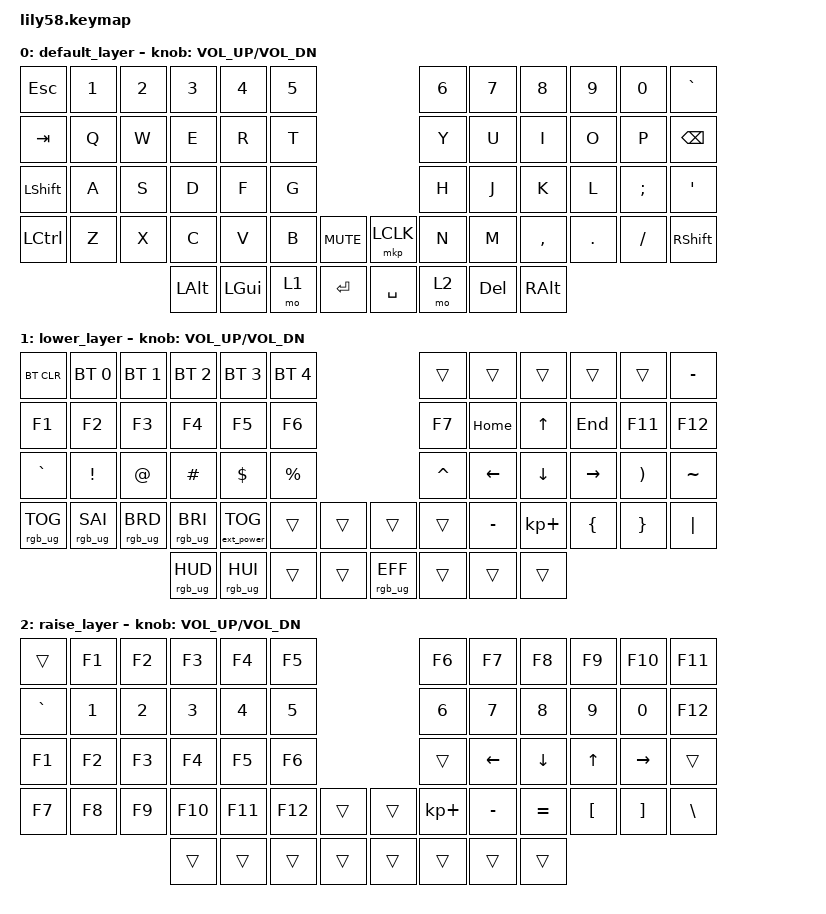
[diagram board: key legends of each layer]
/*
 * Copyright (c) 2020 The ZMK Contributors
 *
 * SPDX-License-Identifier: MIT
 */

#include <behaviors.dtsi>
#include <dt-bindings/led/led.h>
#include <dt-bindings/zmk/bt.h>
#include <dt-bindings/zmk/ext_power.h>
#include <dt-bindings/zmk/keys.h>
#include <dt-bindings/zmk/rgb.h>
#include <dt-bindings/zmk/mouse.h>

&led_strip {
    chain-length = <35>;
};

/ {
    chosen {
        zmk,underglow = &led_strip;
    };

    keymap {
        compatible = "zmk,keymap";

        default_layer {
            // ------------------------------------------------------------------------------------------------------------
            // |  ESC  |  1  |  2  |  3   |  4     |  5   |                   |  6   |  7     |  8    |  9   |   0   |   `   |
            // |  TAB  |  Q  |  W  |  E   |  R     |  T   |                   |  Y   |  U     |  I    |  O   |   P   |   -   |
            // |  CTRL |  A  |  S  |  D   |  F     |  G   |                   |  H   |  J     |  K    |  L   |   ;   |   '   |
            // | SHIFT |  Z  |  X  |  C   |  V     |  B   |   "["  |  |  "]"  |  N   |  M     |  ,    |  .   |   /   | SHIFT |
            //                     | ALT  |  GUI   | LOWER  | SPACE |  | ENTER | BSPC |  RAISE | GUI   |

            bindings = <
&kp ESC    &kp N1  &kp N2  &kp N3    &kp N4    &kp N5                           &kp N6  &kp N7      &kp N8         &kp N9   &kp N0    &kp GRAVE
&kp TAB    &kp Q   &kp W   &kp E     &kp R     &kp T                            &kp Y   &kp U       &kp I          &kp O    &kp P     &kp BACKSPACE
&kp LSHFT  &kp A   &kp S   &kp D     &kp F     &kp G                            &kp H   &kp J       &kp K          &kp L    &kp SEMI  &kp SQT
&kp LCTRL  &kp Z   &kp X   &kp C     &kp V     &kp B   &kp C_MUTE    &mkp LCLK  &kp N   &kp M       &kp COMMA      &kp DOT  &kp FSLH  &kp RSHFT
                           &kp LALT  &kp LGUI  &mo 1   &kp ENTER     &kp SPACE  &mo 2   &kp DELETE  &kp RIGHT_ALT
            >;

            sensor-bindings = <&inc_dec_kp C_VOL_UP C_VOL_DN>;
        };

        lower_layer {
            // ------------------------------------------------------------------------------------------------------------
            // | BTCLR | BT1 | BT2 |  BT3 |  BT4 |  BT5 |                   |      |       |       |      |       |       |
            // |  F1   |  F2 |  F3 |  F4  |  F5  |  F6  |                   |  F7  |  F8   |  F9   |  F10 |  F11  |  F12  |
            // |   `   |  !  |  @  |  #   |  $   |  %   |                   |  ^   |  &    |  *    |  (   |   )   |   ~   |
            // |       |     |     |      |      |      |        |  |       |      |  _    |  +    |  {   |   }   |  "|"  |
            //                     |      |      |      |        |  |       |      |       |       |

            bindings = <
&bt BT_CLR       &bt BT_SEL 0     &bt BT_SEL 1     &bt BT_SEL 2     &bt BT_SEL 3       &bt BT_SEL 4                             &trans     &trans          &trans          &trans           &trans    &kp MINUS
&kp F1           &kp F2           &kp F3           &kp F4           &kp F5             &kp F6                                   &kp F7     &kp HOME        &kp UP_ARROW    &kp END          &kp F11   &kp F12
&kp GRAVE        &kp EXCL         &kp AT           &kp HASH         &kp DOLLAR         &kp PRCNT                                &kp CARET  &kp LEFT_ARROW  &kp DOWN_ARROW  &kp RIGHT_ARROW  &kp RPAR  &kp TILDE
&rgb_ug RGB_TOG  &rgb_ug RGB_SAI  &rgb_ug RGB_BRD  &rgb_ug RGB_BRI  &ext_power EP_TOG  &trans        &trans    &trans           &trans     &kp MINUS       &kp KP_PLUS     &kp LBRC         &kp RBRC  &kp PIPE
                                                   &rgb_ug RGB_HUD  &rgb_ug RGB_HUI    &trans        &trans    &rgb_ug RGB_EFF  &trans     &trans          &trans
            >;

            sensor-bindings = <&inc_dec_kp C_VOL_UP C_VOL_DN>;
        };

        raise_layer {
            // ------------------------------------------------------------------------------------------------------------
            // |       |     |     |      |      |      |                   |      |       |       |      |       |       |
            // |   `   |  1  |  2  |  3   |  4   |  5   |                   |  6   |   7   |   8   |  9   |   0   |       |
            // |   F1  |  F2 |  F3 |  F4  |  F5  |  F6  |                   |      |   <-  |   v   |  ^   |  ->   |       |
            // |   F7  |  F8 |  F9 |  F10 |  F11 |  F12 |        |  |       |  +   |   -   |   =   |  [   |   ]   |   \   |
            //                     |      |      |      |        |  |       |      |       |       |

            bindings = <
&trans     &kp F1  &kp F2  &kp F3   &kp F4   &kp F5                     &kp F6       &kp F7     &kp F8     &kp F9    &kp F10    &kp F11
&kp GRAVE  &kp N1  &kp N2  &kp N3   &kp N4   &kp N5                     &kp N6       &kp N7     &kp N8     &kp N9    &kp N0     &kp F12
&kp F1     &kp F2  &kp F3  &kp F4   &kp F5   &kp F6                     &trans       &kp LEFT   &kp DOWN   &kp UP    &kp RIGHT  &trans
&kp F7     &kp F8  &kp F9  &kp F10  &kp F11  &kp F12  &trans    &trans  &kp KP_PLUS  &kp MINUS  &kp EQUAL  &kp LBKT  &kp RBKT   &kp BSLH
                           &trans   &trans   &trans   &trans    &trans  &trans       &trans     &trans
            >;

            sensor-bindings = <&inc_dec_kp C_VOL_UP C_VOL_DN>;
        };
    };
};
